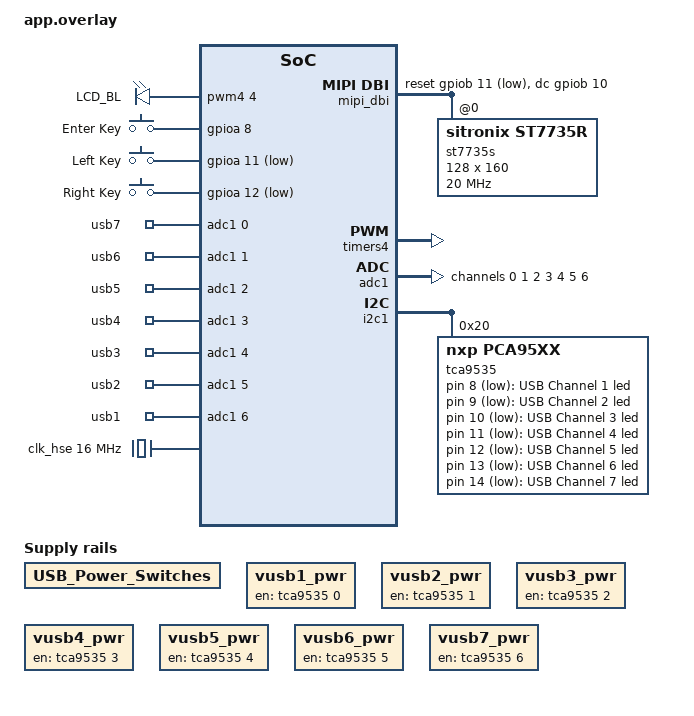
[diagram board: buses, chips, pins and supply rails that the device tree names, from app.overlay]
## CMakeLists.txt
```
cmake_minimum_required(VERSION 3.20.0)

find_package(Zephyr REQUIRED HINTS $ENV{ZEPHYR_BASE})
project(prism_watt_smart_hub)

target_sources(app PRIVATE
	src/main.c
	src/app/app_ui.c
	src/app/microui.c
	src/ui_font.c
	src/google_sans.c
	src/google_sans_freetype.c
)

if(BOARD MATCHES "^native_sim")
	target_compile_definitions(app PRIVATE USE_DESKTOP)
else()
	target_sources(app PRIVATE
		src/app/ext_io.c
		src/drivers/adc_sensor.c
		src/drivers/binary_sensor.c
		src/drivers/display_mgr.c
	)
endif()
```

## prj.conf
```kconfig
CONFIG_MAIN_STACK_SIZE=2048
CONFIG_ISR_STACK_SIZE=1024

CONFIG_STACK_SENTINEL=y
CONFIG_HW_STACK_PROTECTION=y

# CONFIG_THREAD_LOCAL_STORAGE=n

CONFIG_CBPRINTF_NANO=y

CONFIG_CONSOLE=y
CONFIG_UART_CONSOLE=n
CONFIG_USE_SEGGER_RTT=y
CONFIG_RTT_CONSOLE=y
CONFIG_LOG=y
CONFIG_LOG_MODE_DEFERRED=y
CONFIG_LOG_BACKEND_UART=n
CONFIG_LOG_BACKEND_RTT=y
CONFIG_LOG_PRINTK=n

CONFIG_LOG_DEFAULT_LEVEL=3
CONFIG_LOG_BUFFER_SIZE=512
CONFIG_LOG_PROCESS_THREAD_STACK_SIZE=1024


CONFIG_GPIO=y
CONFIG_I2C=y
CONFIG_SPI=y
CONFIG_ADC=y
CONFIG_SERIAL=y
CONFIG_REGULATOR=y

# PWM
CONFIG_PWM=y
CONFIG_PWM_STM32=y

# Display
CONFIG_DISPLAY=y
CONFIG_MIPI_DBI=y
CONFIG_MIPI_DBI_SPI=y
CONFIG_ST7735R=y

CONFIG_GPIO_PCA95XX=y

# CONFIG_I2C_LOG_LEVEL_OFF=y
# CONFIG_GPIO_LOG_LEVEL_OFF=y
# CONFIG_SPI_LOG_LEVEL_OFF=y
```

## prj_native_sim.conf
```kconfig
CONFIG_USE_SEGGER_RTT=n
CONFIG_RTT_CONSOLE=n
CONFIG_LOG_BACKEND_RTT=n
CONFIG_LOG_BACKEND_UART=n
CONFIG_UART_CONSOLE=n
CONFIG_HW_STACK_PROTECTION=n

CONFIG_GPIO=n
CONFIG_I2C=n
CONFIG_SPI=n
CONFIG_ADC=n
CONFIG_SERIAL=n
CONFIG_REGULATOR=n
CONFIG_PWM=n
CONFIG_PWM_STM32=n
CONFIG_MIPI_DBI=n
CONFIG_MIPI_DBI_SPI=n
CONFIG_ST7735R=n
CONFIG_GPIO_PCA95XX=n

CONFIG_DISPLAY=y
CONFIG_SDL_DISPLAY=y
CONFIG_INPUT=y
CONFIG_INPUT_SDL_TOUCH=y
```

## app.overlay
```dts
/*
 * Application hardware configuration for the STM32F103C8T6 board.
 *
 * Schematic:
 *   ADC1 PA0..PA6 : ADC_I_USB7 .. ADC_I_USB1
 *   I2C1 PB6/PB7  : TCA9535PWR at 0x20
 *   USART1 PA9/PA10
 *   SPI2 PB12/PB13/PB15 : LCD CS/SCK/MOSI
 *   PB10/PB11/PB9       : LCD DC/RST/BL
 *
 * LCD: ST7735S-compatible, 128x160 portrait panel using 4-wire SPI.
 */

#include <zephyr/dt-bindings/gpio/gpio.h>
#include <zephyr/dt-bindings/adc/adc.h>
#include <zephyr/dt-bindings/pinctrl/stm32f1-pinctrl.h>
#include <zephyr/dt-bindings/pwm/pwm.h>
#include <zephyr/dt-bindings/mipi_dbi/mipi_dbi.h>
#include <zephyr/dt-bindings/clock/stm32f1_clock.h>

/ {
	leds {
		led_d13: led_13 {
			gpios = <&tca9535 8 GPIO_ACTIVE_LOW>;
			label = "USB Channel 1 led";
		};

		led_d14: led_14 {
			gpios = <&tca9535 9 GPIO_ACTIVE_LOW>;
			label = "USB Channel 2 led";
		};

		led_d15: led_15 {
			gpios = <&tca9535 10 GPIO_ACTIVE_LOW>;
			label = "USB Channel 3 led";
		};

		led_d16: led_16 {
			gpios = <&tca9535 11 GPIO_ACTIVE_LOW>;
			label = "USB Channel 4 led";
		};

		led_d17: led_17 {
			gpios = <&tca9535 12 GPIO_ACTIVE_LOW>;
			label = "USB Channel 5 led";
		};

		led_d18: led_18 {
			gpios = <&tca9535 13 GPIO_ACTIVE_LOW>;
			label = "USB Channel 6 led";
		};

		led_d19: led_19 {
			gpios = <&tca9535 14 GPIO_ACTIVE_LOW>;
			label = "USB Channel 7 led";
		};
	};

	lcd_bl {
		compatible = "pwm-leds";

		lcd_backlight: lcd-backlight {
			pwms = <&pwm4 4 PWM_USEC(500) PWM_POLARITY_NORMAL>;
			label = "LCD_BL";
		};
	};

	gpio_buttons {
		compatible = "gpio-keys";

		button_0: button_0 {
			gpios = <&gpioa 8 (GPIO_PULL_DOWN | GPIO_ACTIVE_HIGH)>;
			label = "Enter Key";
		};

		button_1: button_1 {
			gpios = <&gpioa 11 (GPIO_PULL_UP | GPIO_ACTIVE_LOW)>;
			label = "Left Key";
		};

		button_2: button_2 {
			gpios = <&gpioa 12 (GPIO_PULL_UP | GPIO_ACTIVE_LOW)>;
			label = "Right Key";
		};
	};

	mipi_dbi: mipi-dbi {
		compatible = "zephyr,mipi-dbi-spi";
		status = "okay";
		spi-dev = <&spi2>;
		dc-gpios = <&gpiob 10 GPIO_ACTIVE_HIGH>;
		reset-gpios = <&gpiob 11 GPIO_ACTIVE_LOW>;
		write-only;
		#address-cells = <1>;
		#size-cells = <0>;

		st7735s: st7735s@0 {
			compatible = "sitronix,st7735r";
			reg = <0>;
			mipi-max-frequency = <20000000>;
			mipi-mode = "MIPI_DBI_MODE_SPI_4WIRE";

			width = <128>;
			height = <160>;
			x-offset = <0>;
			y-offset = <0>;

			madctl = <0x00>;
			colmod = <0x55>;
			vmctr1 = <0x0e>;
			pwctr1 = [a2 02 84];
			pwctr2 = [c5];
			pwctr3 = [0a 00];
			pwctr4 = [8a 2a];
			pwctr5 = [8a ee];
			frmctr1 = [01 2c 2d];
			frmctr2 = [01 2c 2d];
			frmctr3 = [01 2c 2d 01 2c 2d];
			gamctrp1 = [02 1c 07 12 37 32 29 2d
				    29 25 2b 39 00 01 03 10];
			gamctrn1 = [03 1d 07 06 2e 2c 29 2d
				    2e 2e 37 3f 00 00 02 10];
		};
	};

	chosen {
		zephyr,display = &st7735s;
	};

	zephyr,user {
		io-channel-names = "usb7", "usb6", "usb5", "usb4",
				   "usb3", "usb2", "usb1";
		/*
		 * The order is fixed and is used by the application:
		 *   0: PA0 / ADC1_USB7
		 *   1: PA1 / ADC1_USB6
		 *   2: PA2 / ADC1_USB5
		 *   3: PA3 / ADC1_USB4
		 *   4: PA4 / ADC1_USB3
		 *   5: PA5 / ADC1_USB2
		 *   6: PA6 / ADC1_USB1
		 */
		io-channels = <&adc1 0>, <&adc1 1>, <&adc1 2>,
			      <&adc1 3>, <&adc1 4>, <&adc1 5>,
			      <&adc1 6>;
	};

	vusb_switches {
		compatible = "regulator-fixed";
		regulator-name = "USB_Power_Switches";

		vusb1_pwr: vusb1_reg {
			compatible = "regulator-fixed";
			enable-gpios = <&tca9535 0 GPIO_ACTIVE_HIGH>;
			regulator-name = "VUSB1_5V";
			startup-delay-us = <500>;
			regulator-boot-on;
			regulator-always-on;
		};

		vusb2_pwr: vusb2_reg {
			compatible = "regulator-fixed";
			enable-gpios = <&tca9535 1 GPIO_ACTIVE_HIGH>;
			regulator-name = "VUSB2_5V";
			startup-delay-us = <500>;
			regulator-boot-on;
			regulator-always-on;
		};

		vusb3_pwr: vusb3_reg {
			compatible = "regulator-fixed";
			enable-gpios = <&tca9535 2 GPIO_ACTIVE_HIGH>;
			regulator-name = "VUSB3_5V";
			startup-delay-us = <500>;
			regulator-boot-on;
			regulator-always-on;
		};

		vusb4_pwr: vusb4_reg {
			compatible = "regulator-fixed";
			enable-gpios = <&tca9535 3 GPIO_ACTIVE_HIGH>;
			regulator-name = "VUSB4_5V";
			startup-delay-us = <500>;
			regulator-boot-on;
			regulator-always-on;
		};

		vusb5_pwr: vusb5_reg {
			compatible = "regulator-fixed";
			enable-gpios = <&tca9535 4 GPIO_ACTIVE_HIGH>;
			regulator-name = "VUSB5_5V";
			startup-delay-us = <500>;
			regulator-boot-on;
			regulator-always-on;
		};

		vusb6_pwr: vusb6_reg {
			compatible = "regulator-fixed";
			enable-gpios = <&tca9535 5 GPIO_ACTIVE_HIGH>;
			regulator-name = "VUSB6_5V";
			startup-delay-us = <500>;
			regulator-boot-on;
			regulator-always-on;
		};

		vusb7_pwr: vusb7_reg {
			compatible = "regulator-fixed";
			enable-gpios = <&tca9535 6 GPIO_ACTIVE_HIGH>;
			regulator-name = "VUS7_5V";
			startup-delay-us = <500>;
			regulator-boot-on;
			regulator-always-on;
		};
	};

	aliases {
		host-uart = &usart1;
		vusb1-pwr = &vusb1_pwr;
		vusb2-pwr = &vusb2_pwr;
		vusb3-pwr = &vusb3_pwr;
		vusb4-pwr = &vusb4_pwr;
		vusb5-pwr = &vusb5_pwr;
		vusb6-pwr = &vusb6_pwr;
		vusb7-pwr = &vusb7_pwr;

		green-led1 = &led_d13;
		green-led2 = &led_d14;
		green-led3 = &led_d15;
		green-led4 = &led_d16;
		green-led5 = &led_d17;
		green-led6 = &led_d18;
		green-led7 = &led_d19;

		enter-key = &button_0;
		left-key = &button_1;
		right-key = &button_2;
	};
};

&clk_hse {
	clock-frequency = <DT_FREQ_M(16)>;
	status = "okay";
};

&pll {
	clocks = <&clk_hse>;
	mul = <9>;
	xtpre;
	status = "okay";
};

&rcc {
	clocks = <&pll>;
	clock-frequency = <DT_FREQ_M(72)>;
	ahb-prescaler = <1>;
	apb1-prescaler = <2>;
	apb2-prescaler = <1>;
};

&pinctrl {
	tim4_ch4_pwm_out_pb9: tim4_ch4_pwm_out_pb9 {
		pinmux = <STM32F1_PINMUX('B', 9, ALTERNATE, NO_REMAP)>;
	};
};

&timers4 {
	status = "okay";

	pwm4: pwm {
		status = "okay";
		pinctrl-0 = <&tim4_ch4_pwm_out_pb9>;
		pinctrl-names = "default";
	};
};

/* PB10/PB11 are reserved for the LCD DC and reset signals. */
&usart3 {
	status = "disabled";
};

&i2c2 {
	status = "disabled";
};

/*
 * PA4..PA6 are analog inputs in this design. SPI1 is not connected
 * to the LCD; disable the board default so it cannot claim those pins.
 */
&spi1 {
	status = "disabled";
};

&usart2 {
	status = "disabled";
};

&adc1 {

	clocks = <&rcc STM32_CLOCK(APB2, 9)>,
		 <&rcc STM32_SRC_SYSCLK ADC_PRE(ADC_PRE_DIV_6)>;
	clock-names = "adcx", "adc_pre";
	#address-cells = <1>;
	#size-cells = <0>;

	channel@0 {
		reg = <0>;
		zephyr,acquisition-time = <ADC_ACQ_TIME_DEFAULT>;
		zephyr,gain = "ADC_GAIN_1";
		zephyr,reference = "ADC_REF_INTERNAL";
		zephyr,resolution = <12>;
		zephyr,vref-mv = <3300>;
	};

	channel@1 {
		reg = <1>;
		zephyr,acquisition-time = <ADC_ACQ_TIME_DEFAULT>;
		zephyr,gain = "ADC_GAIN_1";
		zephyr,reference = "ADC_REF_INTERNAL";
		zephyr,resolution = <12>;
		zephyr,vref-mv = <3300>;
	};

	channel@2 {
		reg = <2>;
		zephyr,acquisition-time = <ADC_ACQ_TIME_DEFAULT>;
		zephyr,gain = "ADC_GAIN_1";
		zephyr,reference = "ADC_REF_INTERNAL";
		zephyr,resolution = <12>;
		zephyr,vref-mv = <3300>;
	};

	channel@3 {
		reg = <3>;
		zephyr,acquisition-time = <ADC_ACQ_TIME_DEFAULT>;
		zephyr,gain = "ADC_GAIN_1";
		zephyr,reference = "ADC_REF_INTERNAL";
		zephyr,resolution = <12>;
		zephyr,vref-mv = <3300>;
	};

	channel@4 {
		reg = <4>;
		zephyr,acquisition-time = <ADC_ACQ_TIME_DEFAULT>;
		zephyr,gain = "ADC_GAIN_1";
		zephyr,reference = "ADC_REF_INTERNAL";
		zephyr,resolution = <12>;
		zephyr,vref-mv = <3300>;
	};

	channel@5 {
		reg = <5>;
		zephyr,acquisition-time = <ADC_ACQ_TIME_DEFAULT>;
		zephyr,gain = "ADC_GAIN_1";
		zephyr,reference = "ADC_REF_INTERNAL";
		zephyr,resolution = <12>;
		zephyr,vref-mv = <3300>;
	};

	channel@6 {
		reg = <6>;
		zephyr,acquisition-time = <ADC_ACQ_TIME_DEFAULT>;
		zephyr,gain = "ADC_GAIN_1";
		zephyr,reference = "ADC_REF_INTERNAL";
		zephyr,resolution = <12>;
		zephyr,vref-mv = <3300>;
	};
};

&i2c1 {
	tca9535: gpio-expander@20 {
		compatible = "nxp,pca95xx";
		reg = <0x20>;
		#gpio-cells = <2>;
		gpio-controller;
		ngpios = <16>;
		gpio-line-names = "VUSB1_5V_CTL", "VUSB2_5V_CTL",
				  "VUSB3_5V_CTL", "VUSB4_5V_CTL",
				  "VUSB5_5V_CTL", "VUSB6_5V_CTL",
				  "VUSB7_5V_CTL", "NC",
				  "D13", "D14", "D15", "D16",
				  "D17", "D18", "D19", "NC";
		status = "okay";
	};
};
```

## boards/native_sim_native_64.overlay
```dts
#include <zephyr/dt-bindings/display/panel.h>

/ {
	chosen {
		zephyr,display = &sdl_dc;
	};
};

&sdl_dc {
	status = "okay";
	height = <128>;
	width = <160>;
	pixel-format = <PANEL_PIXEL_FORMAT_RGB_565>;
};

&input_sdl_touch {
	status = "okay";
	display = <&sdl_dc>;
};
```

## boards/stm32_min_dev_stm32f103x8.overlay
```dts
/*
 * Application hardware configuration for the STM32F103C8T6 board.
 *
 * Schematic:
 *   ADC1 PA0..PA6 : ADC_I_USB7 .. ADC_I_USB1
 *   I2C1 PB6/PB7  : TCA9535PWR at 0x20
 *   USART1 PA9/PA10
 *   SPI2 PB12/PB13/PB15 : LCD CS/SCK/MOSI
 *   PB10/PB11/PB9       : LCD DC/RST/BL
 *
 * LCD: ST7735S-compatible, 128x160 portrait panel using 4-wire SPI.
 */

#include <zephyr/dt-bindings/gpio/gpio.h>
#include <zephyr/dt-bindings/adc/adc.h>
#include <zephyr/dt-bindings/pinctrl/stm32f1-pinctrl.h>
#include <zephyr/dt-bindings/pwm/pwm.h>
#include <zephyr/dt-bindings/mipi_dbi/mipi_dbi.h>
#include <zephyr/dt-bindings/clock/stm32f1_clock.h>

/ {
	leds {
		led_d13: led_13 {
			gpios = <&tca9535 8 GPIO_ACTIVE_LOW>;
			label = "USB Channel 1 led";
		};

		led_d14: led_14 {
			gpios = <&tca9535 9 GPIO_ACTIVE_LOW>;
			label = "USB Channel 2 led";
		};

		led_d15: led_15 {
			gpios = <&tca9535 10 GPIO_ACTIVE_LOW>;
			label = "USB Channel 3 led";
		};

		led_d16: led_16 {
			gpios = <&tca9535 11 GPIO_ACTIVE_LOW>;
			label = "USB Channel 4 led";
		};

		led_d17: led_17 {
			gpios = <&tca9535 12 GPIO_ACTIVE_LOW>;
			label = "USB Channel 5 led";
		};

		led_d18: led_18 {
			gpios = <&tca9535 13 GPIO_ACTIVE_LOW>;
			label = "USB Channel 6 led";
		};

		led_d19: led_19 {
			gpios = <&tca9535 14 GPIO_ACTIVE_LOW>;
			label = "USB Channel 7 led";
		};
	};

	lcd_bl {
		compatible = "pwm-leds";

		lcd_backlight: lcd-backlight {
			pwms = <&pwm4 4 PWM_USEC(500) PWM_POLARITY_NORMAL>;
			label = "LCD_BL";
		};
	};

	gpio_buttons {
		compatible = "gpio-keys";

		button_0: button_0 {
			gpios = <&gpioa 8 (GPIO_PULL_DOWN | GPIO_ACTIVE_HIGH)>;
			label = "Enter Key";
		};

		button_1: button_1 {
			gpios = <&gpioa 11 (GPIO_PULL_UP | GPIO_ACTIVE_LOW)>;
			label = "Left Key";
		};

		button_2: button_2 {
			gpios = <&gpioa 12 (GPIO_PULL_UP | GPIO_ACTIVE_LOW)>;
			label = "Right Key";
		};
	};

	mipi_dbi: mipi-dbi {
		compatible = "zephyr,mipi-dbi-spi";
		status = "okay";
		spi-dev = <&spi2>;
		dc-gpios = <&gpiob 10 GPIO_ACTIVE_HIGH>;
		reset-gpios = <&gpiob 11 GPIO_ACTIVE_LOW>;
		write-only;
		#address-cells = <1>;
		#size-cells = <0>;


		st7735s: st7735s@0 {
			compatible = "sitronix,st7735r";
			reg = <0>;
			mipi-max-frequency = <20000000>;
			mipi-mode = "MIPI_DBI_MODE_SPI_4WIRE";

			width = <160>;
			height = <128>;
			x-offset = <0>;
			y-offset = <0>;

			/* Landscape: exchange row/column (MV) + mirror column (MX).
			 * If the image appears upside-down, use 0xA0 (MV|MY) instead.
			 */
			madctl = <0xa0>;
			rgb-is-inverted;
			colmod = <0x55>;
			inversion-on;
			vmctr1 = <0x0e>;
			pwctr1 = [a2 02 84];
			pwctr2 = [c5];
			pwctr3 = [0a 00];
			pwctr4 = [8a 2a];
			pwctr5 = [8a ee];
			frmctr1 = [01 2c 2d];
			frmctr2 = [01 2c 2d];
			frmctr3 = [01 2c 2d 01 2c 2d];
			gamctrp1 = [02 1c 07 12 37 32 29 2d
				    29 25 2b 39 00 01 03 10];
			gamctrn1 = [03 1d 07 06 2e 2c 29 2d
				    2e 2e 37 3f 00 00 02 10];
		};
	};

	chosen {
		zephyr,display = &st7735s;
	};

	zephyr,user {
		io-channel-names = "usb7", "usb6", "usb5", "usb4",
				   "usb3", "usb2", "usb1";
		/*
		 * The order is fixed and is used by the application:
		 *   0: PA0 / ADC1_USB7
		 *   1: PA1 / ADC1_USB6
		 *   2: PA2 / ADC1_USB5
		 *   3: PA3 / ADC1_USB4
		 *   4: PA4 / ADC1_USB3
		 *   5: PA5 / ADC1_USB2
		 *   6: PA6 / ADC1_USB1
		 */
		io-channels = <&adc1 0>, <&adc1 1>, <&adc1 2>,
			      <&adc1 3>, <&adc1 4>, <&adc1 5>,
			      <&adc1 6>;
	};

	vusb_switches {
		compatible = "regulator-fixed";
		regulator-name = "USB_Power_Switches";

		vusb1_pwr: vusb1_reg {
			compatible = "regulator-fixed";
			enable-gpios = <&tca9535 0 GPIO_ACTIVE_HIGH>;
			regulator-name = "VUSB1_5V";
			startup-delay-us = <500>;
			regulator-boot-on;
			regulator-always-on;
		};

		vusb2_pwr: vusb2_reg {
			compatible = "regulator-fixed";
			enable-gpios = <&tca9535 1 GPIO_ACTIVE_HIGH>;
			regulator-name = "VUSB2_5V";
			startup-delay-us = <500>;
			regulator-boot-on;
			regulator-always-on;
		};

		vusb3_pwr: vusb3_reg {
			compatible = "regulator-fixed";
			enable-gpios = <&tca9535 2 GPIO_ACTIVE_HIGH>;
			regulator-name = "VUSB3_5V";
			startup-delay-us = <500>;
			regulator-boot-on;
			regulator-always-on;
		};

		vusb4_pwr: vusb4_reg {
			compatible = "regulator-fixed";
			enable-gpios = <&tca9535 3 GPIO_ACTIVE_HIGH>;
			regulator-name = "VUSB4_5V";
			startup-delay-us = <500>;
			regulator-boot-on;
			regulator-always-on;
		};

		vusb5_pwr: vusb5_reg {
			compatible = "regulator-fixed";
			enable-gpios = <&tca9535 4 GPIO_ACTIVE_HIGH>;
			regulator-name = "VUSB5_5V";
			startup-delay-us = <500>;
			regulator-boot-on;
			regulator-always-on;
		};

		vusb6_pwr: vusb6_reg {
			compatible = "regulator-fixed";
			enable-gpios = <&tca9535 5 GPIO_ACTIVE_HIGH>;
			regulator-name = "VUSB6_5V";
			startup-delay-us = <500>;
			regulator-boot-on;
			regulator-always-on;
		};

		vusb7_pwr: vusb7_reg {
			compatible = "regulator-fixed";
			enable-gpios = <&tca9535 6 GPIO_ACTIVE_HIGH>;
			regulator-name = "VUS7_5V";
			startup-delay-us = <500>;
			regulator-boot-on;
			regulator-always-on;
		};
	};

	aliases {
		host-uart = &usart1;
		vusb1-pwr = &vusb1_pwr;
		vusb2-pwr = &vusb2_pwr;
		vusb3-pwr = &vusb3_pwr;
		vusb4-pwr = &vusb4_pwr;
		vusb5-pwr = &vusb5_pwr;
		vusb6-pwr = &vusb6_pwr;
		vusb7-pwr = &vusb7_pwr;

		green-led1 = &led_d13;
		green-led2 = &led_d14;
		green-led3 = &led_d15;
		green-led4 = &led_d16;
		green-led5 = &led_d17;
		green-led6 = &led_d18;
		green-led7 = &led_d19;

		enter-key = &button_0;
		left-key = &button_1;
		right-key = &button_2;
	};
};

&clk_hse {
	clock-frequency = <DT_FREQ_M(16)>;
	status = "okay";
};

&pll {
	clocks = <&clk_hse>;
	mul = <9>;
	xtpre;
	status = "okay";
};

&rcc {
	clocks = <&pll>;
	clock-frequency = <DT_FREQ_M(72)>;
	ahb-prescaler = <1>;
	apb1-prescaler = <2>;
	apb2-prescaler = <1>;
};

&pinctrl {
	tim4_ch4_pwm_out_pb9: tim4_ch4_pwm_out_pb9 {
		pinmux = <STM32F1_PINMUX('B', 9, ALTERNATE, NO_REMAP)>;
	};
};

&timers4 {
	status = "okay";

	pwm4: pwm {
		status = "okay";
		pinctrl-0 = <&tim4_ch4_pwm_out_pb9>;
		pinctrl-names = "default";
	};
};

/* PB10/PB11 are reserved for the LCD DC and reset signals. */
&usart3 {
	status = "disabled";
};

&i2c2 {
	status = "disabled";
};

/*
 * PA4..PA6 are analog inputs in this design. SPI1 is not connected
 * to the LCD; disable the board default so it cannot claim those pins.
 */
&spi1 {
	status = "disabled";
};

&usart2 {
	status = "disabled";
};

&adc1 {

	clocks = <&rcc STM32_CLOCK(APB2, 9)>,
		 <&rcc STM32_SRC_SYSCLK ADC_PRE(ADC_PRE_DIV_6)>;
	clock-names = "adcx", "adc_pre";
	#address-cells = <1>;
	#size-cells = <0>;

	channel@0 {
		reg = <0>;
		zephyr,acquisition-time = <ADC_ACQ_TIME_DEFAULT>;
		zephyr,gain = "ADC_GAIN_1";
		zephyr,reference = "ADC_REF_INTERNAL";
		zephyr,resolution = <12>;
		zephyr,vref-mv = <3300>;
	};

	channel@1 {
		reg = <1>;
		zephyr,acquisition-time = <ADC_ACQ_TIME_DEFAULT>;
		zephyr,gain = "ADC_GAIN_1";
		zephyr,reference = "ADC_REF_INTERNAL";
		zephyr,resolution = <12>;
		zephyr,vref-mv = <3300>;
	};

	channel@2 {
		reg = <2>;
		zephyr,acquisition-time = <ADC_ACQ_TIME_DEFAULT>;
		zephyr,gain = "ADC_GAIN_1";
		zephyr,reference = "ADC_REF_INTERNAL";
		zephyr,resolution = <12>;
		zephyr,vref-mv = <3300>;
	};

	channel@3 {
		reg = <3>;
		zephyr,acquisition-time = <ADC_ACQ_TIME_DEFAULT>;
		zephyr,gain = "ADC_GAIN_1";
		zephyr,reference = "ADC_REF_INTERNAL";
		zephyr,resolution = <12>;
		zephyr,vref-mv = <3300>;
	};

	channel@4 {
		reg = <4>;
		zephyr,acquisition-time = <ADC_ACQ_TIME_DEFAULT>;
		zephyr,gain = "ADC_GAIN_1";
		zephyr,reference = "ADC_REF_INTERNAL";
		zephyr,resolution = <12>;
		zephyr,vref-mv = <3300>;
	};

	channel@5 {
		reg = <5>;
		zephyr,acquisition-time = <ADC_ACQ_TIME_DEFAULT>;
		zephyr,gain = "ADC_GAIN_1";
		zephyr,reference = "ADC_REF_INTERNAL";
		zephyr,resolution = <12>;
		zephyr,vref-mv = <3300>;
	};

	channel@6 {
		reg = <6>;
		zephyr,acquisition-time = <ADC_ACQ_TIME_DEFAULT>;
		zephyr,gain = "ADC_GAIN_1";
		zephyr,reference = "ADC_REF_INTERNAL";
		zephyr,resolution = <12>;
		zephyr,vref-mv = <3300>;
	};
};

&i2c1 {
	tca9535: gpio-expander@20 {
		compatible = "nxp,pca95xx";
		reg = <0x20>;
		#gpio-cells = <2>;
		gpio-controller;
		ngpios = <16>;
		gpio-line-names = "VUSB1_5V_CTL", "VUSB2_5V_CTL",
				  "VUSB3_5V_CTL", "VUSB4_5V_CTL",
				  "VUSB5_5V_CTL", "VUSB6_5V_CTL",
				  "VUSB7_5V_CTL", "NC",
				  "D13", "D14", "D15", "D16",
				  "D17", "D18", "D19", "NC";
		status = "okay";
	};
};
```

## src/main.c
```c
#include <zephyr/logging/log.h>
#include <zephyr/kernel.h>
#include "app/app_ui.h"
#ifndef USE_DESKTOP
#include "app/ext_io.h"
#include "drivers/adc_sensor.h"
#include "drivers/binary_sensor.h"
#include "drivers/display_mgr.h"
#endif

LOG_MODULE_REGISTER(app, LOG_LEVEL_INF);

int main(void)
{
	int ret;

	LOG_INF("application started");

#ifndef USE_DESKTOP
	ret = ext_io_init();
	if (ret < 0) {
		LOG_ERR("External IO initialization failed: %d", ret);
		return ret;
	}

	ret = ext_io_led_test();
	if (ret < 0) {
		LOG_ERR("LED test failed: %d", ret);
		return ret;
	}

	ret = adc_sensor_init();

	if (ret < 0) {
		LOG_ERR("ADC channel initialization failed: %d", ret);
		return ret;
	}

	ret = gpio_keys_init();

	if (ret < 0) {
		LOG_ERR("GPIO keys initialization failed: %d", ret);
		return ret;
	}

	ret = display_mgr_init();

	if (ret < 0) {
		LOG_ERR("Failed to initialize the display: %d", ret);
		return ret;
	}
#endif

	ret = app_ui_init();

	if (ret < 0) {
		LOG_ERR("Failed to initialize the UI: %d", ret);
		return ret;
	}

#ifdef USE_DESKTOP
	LOG_INF("Running desktop UI simulator");
	for (;;) {
		k_sleep(K_FOREVER);
	}
#else
	while (true) {
		adc_sensor_update();

		if (adc_sensor_get_state() == ADC_SENSOR_ACTIVE) {
			uint16_t sample;

			adc_sensor_get_sample(&sample);

			LOG_INF("Current sample: %u", sample);
		}

		k_sleep(K_MSEC(1000));
	}

	return 0;
#endif
}
```

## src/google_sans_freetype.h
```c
/*
 * google_sans_freetype.h
 * Google Sans SemiBold, 14px, 4bpp (16 levels) bitmap font.
 * Generated by temp/gen_font.py from GoogleSans-SemiBold.ttf.
 * Hint: normal; oversample: 1x; coverage gamma: 1.
 *
 * Glyph set:  !"#$%&'()*+,-./0123456789:;<=>?@ABCDEFGHIJKLMNOPQRSTUVWXYZ[\]^_`abcdefghijklmnopqrstuvwxyz{|}~
 */
#ifndef GOOGLE_SANS_FREETYPE_H_
#define GOOGLE_SANS_FREETYPE_H_

#include <stdint.h>

#include "ui_font.h"

extern const ui_font_t google_sans_freetype;

#endif /* GOOGLE_SANS_FREETYPE_H_ */
```

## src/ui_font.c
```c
#include "ui_font.h"

#include <string.h>

const ui_font_glyph_t *ui_font_find_glyph(const ui_font_t *font, char c)
{
	uint8_t index = ((unsigned char)c < 128)
			? font->lookup[(unsigned char)c] : UI_FONT_MISSING;

	if (index == UI_FONT_MISSING) {
		index = font->lookup[' '];
	}

	return &font->glyphs[index];
}

int ui_font_text_width(const ui_font_t *font, const char *str, int len)
{
	uint32_t width = 0;

	if (len < 0) {
		len = (int)strlen(str);
	}

	for (int i = 0; i < len; i++) {
		width += ui_font_find_glyph(font, str[i])->advance;
	}

	return (int)((width + 8) >> 4);
}

int ui_font_text_height(const ui_font_t *font)
{
	return font->line_height;
}
```

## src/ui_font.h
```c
#ifndef UI_FONT_H_
#define UI_FONT_H_

#include <stdint.h>

typedef struct ui_font_glyph {
	uint16_t code;
	int8_t xoff;
	int8_t yoff;
	uint8_t w;
	uint8_t h;
	uint16_t advance; /* 1/16 pixel */
	uint16_t offset;
} ui_font_glyph_t;

typedef struct ui_font {
	uint8_t line_height;
	int8_t ascent;
	uint8_t bpp;
	uint16_t glyph_count;
	const ui_font_glyph_t *glyphs;
	const uint8_t *lookup;
	const uint8_t *bitmap;
} ui_font_t;

#define UI_FONT_MISSING 0xFF

const ui_font_glyph_t *ui_font_find_glyph(const ui_font_t *font, char c);
int ui_font_text_width(const ui_font_t *font, const char *str, int len);
int ui_font_text_height(const ui_font_t *font);

static inline uint8_t ui_font_glyph_pixel(const ui_font_glyph_t *glyph,
					  const uint8_t *bitmap,
					  int x, int y, uint8_t bpp)
{
	const uint8_t *row = bitmap + glyph->offset +
			     y * ((glyph->w * bpp + 7) / 8);

	switch (bpp) {
	case 1:
		return (row[x / 8] >> (7 - (x & 7))) & 1;
	case 2:
		return (row[x / 4] >> (6 - 2 * (x & 3))) & 3;
	case 4: {
		uint8_t value = row[x / 2];

		return (x & 1) ? (value & 0x0F) : (value >> 4);
	}
	case 8:
		return row[x];
	default:
		return 0;
	}
}

#endif /* UI_FONT_H_ */
```
